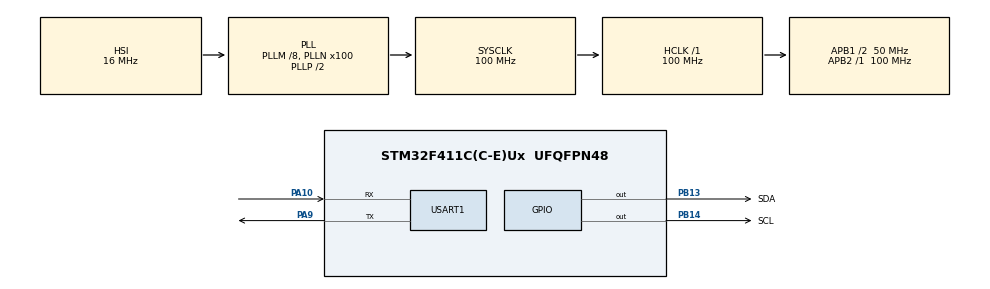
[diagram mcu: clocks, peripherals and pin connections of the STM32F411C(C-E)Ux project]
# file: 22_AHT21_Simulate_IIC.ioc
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Mcu.Family=STM32F4
Mcu.Name=STM32F411C(C-E)Ux
Mcu.Package=UFQFPN48
NVIC.PriorityGroup=NVIC_PRIORITYGROUP_4
PA10.Mode=Asynchronous
PA10.Signal=USART1_RX
PA13.Mode=Serial_Wire
PA13.Signal=SYS_JTMS-SWDIO
PA14.Mode=Serial_Wire
PA14.Signal=SYS_JTCK-SWCLK
PA9.Mode=Asynchronous
PA9.Signal=USART1_TX
PB13.GPIO_Label=SDA
PB13.GPIO_ModeDefaultOutputPP=GPIO_MODE_OUTPUT_OD
PB13.GPIO_PuPd=GPIO_NOPULL
PB13.PinState=GPIO_PIN_SET
PB13.Signal=GPIO_Output
PB14.GPIO_Label=SCL
PB14.GPIO_ModeDefaultOutputPP=GPIO_MODE_OUTPUT_OD
PB14.GPIO_PuPd=GPIO_NOPULL
PB14.PinState=GPIO_PIN_SET
PB14.Signal=GPIO_Output
PC14-OSC32_IN.Mode=LSE-External-Oscillator
PC14-OSC32_IN.Signal=RCC_OSC32_IN
PC15-OSC32_OUT.Mode=LSE-External-Oscillator
PC15-OSC32_OUT.Signal=RCC_OSC32_OUT
PH0\ -\ OSC_IN.Mode=HSE-External-Oscillator
PH0\ -\ OSC_IN.Signal=RCC_OSC_IN
PH1\ -\ OSC_OUT.Mode=HSE-External-Oscillator
PH1\ -\ OSC_OUT.Signal=RCC_OSC_OUT
ProjectManager.HeapSize=0x200
ProjectManager.StackSize=0x400
ProjectManager.TargetToolchain=MDK-ARM V5
RCC.48MHZClocksFreq_Value=50000000
RCC.AHBFreq_Value=100000000
RCC.APB1CLKDivider=RCC_HCLK_DIV2
RCC.APB1Freq_Value=50000000
RCC.APB1TimFreq_Value=100000000
RCC.APB2Freq_Value=100000000
RCC.APB2TimFreq_Value=100000000
RCC.CortexFreq_Value=100000000
RCC.HCLKFreq_Value=100000000
RCC.HSE_VALUE=25000000
RCC.HSI_VALUE=16000000
RCC.PLLM=8
RCC.PLLN=100
RCC.SYSCLKFreq_VALUE=100000000
RCC.SYSCLKSource=RCC_SYSCLKSOURCE_PLLCLK
RCC.VCOOutputFreq_Value=200000000
USART1.VirtualMode=VM_ASYNC
board=custom

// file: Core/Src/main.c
/* USER CODE BEGIN Header */
/**
 ******************************************************************************
 * @file           : main.c
 * @brief          : Main program body
 ******************************************************************************
 * @attention
 *
 * Copyright (c) 2026 STMicroelectronics.
 * All rights reserved.
 *
 * This software is licensed under terms that can be found in the LICENSE file
 * in the root directory of this software component.
 * If no LICENSE file comes with this software, it is provided AS-IS.
 *
 ******************************************************************************
 */
/* USER CODE END Header */
#include "main.h"

#include "gpio.h"
#include "usart.h"

/* USER CODE BEGIN Includes */
#include <stdio.h>

#include "core_cm4.h"
#include "iic_hal.h"

#include "Test_Aht21b_Driver.h"
/* USER CODE END Includes */

/* USER CODE BEGIN PV */
iic_bus_t AHT_bus = {
    .IIC_SDA_PORT = GPIOB,
    .IIC_SCL_PORT = GPIOB,
    .IIC_SDA_PIN = GPIO_PIN_13,
    .IIC_SCL_PIN = GPIO_PIN_14,
};
/* USER CODE END PV */

/* ---------- unity test ------------------- */
// void setUp(void)
// {
// }
// void tearDown(void)
// {
// }

/* ---------- unity test ------------------- */

void SystemClock_Config(void);
/* USER CODE BEGIN PFP */
void dwt_delay_init(void) {
  CoreDebug->DEMCR |= CoreDebug_DEMCR_TRCENA_Msk;  // ʹ�� DWT ģ��
  DWT->CYCCNT = 0;                                 // ���������
  DWT->CTRL |= DWT_CTRL_CYCCNTENA_Msk;             // ʹ�� cycle counter
}
void delay_us(uint32_t us) {
  uint32_t start = DWT->CYCCNT;
  uint32_t ticks = us * (SystemCoreClock / 1000000);

  while ((DWT->CYCCNT - start) < ticks);
}

void delay_ms(uint32_t ms) {
  while (ms--) {
    delay_us(1000);
  }
}
/* USER CODE END PFP */

/* Private user code --------------
 * -------------------------------------------*/

int main(void) {

  /* MCU Configuration--------------------------------------------------------*/

  /* Reset of all peripherals, Initializes the Flash interface and the Systick.
   */
  HAL_Init();

  /* Configure the system clock */
  SystemClock_Config();
  dwt_delay_init();

  /* Initialize all configured peripherals */
  MX_GPIO_Init();
  MX_USART1_UART_Init();
  /* USER CODE BEGIN 2 */
  printf("Hello World1");
  HAL_GPIO_WritePin(GPIOB, SDA_Pin | SCL_Pin, GPIO_PIN_RESET);
  printf("hello world2 SystemCoreClock = [%d] \r\n", SystemCoreClock);
  HAL_GPIO_WritePin(GPIOB, SDA_Pin | SCL_Pin, GPIO_PIN_SET);

  delay_us(1000);
  HAL_GPIO_WritePin(GPIOB, SDA_Pin | SCL_Pin, GPIO_PIN_RESET);
  delay_us(100);
  HAL_GPIO_WritePin(GPIOB, SDA_Pin | SCL_Pin, GPIO_PIN_SET);
  delay_us(100);
  HAL_GPIO_WritePin(GPIOB, SDA_Pin | SCL_Pin, GPIO_PIN_RESET);
  delay_us(200);
  HAL_GPIO_WritePin(GPIOB, SDA_Pin | SCL_Pin, GPIO_PIN_SET);
  delay_us(100);
  HAL_GPIO_WritePin(GPIOB, SDA_Pin | SCL_Pin, GPIO_PIN_RESET);
  delay_us(300);
  HAL_GPIO_WritePin(GPIOB, SDA_Pin | SCL_Pin, GPIO_PIN_SET);
  delay_us(100);
  HAL_GPIO_WritePin(GPIOB, SDA_Pin | SCL_Pin, GPIO_PIN_RESET);
  delay_ms(1);
  HAL_GPIO_WritePin(GPIOB, SDA_Pin | SCL_Pin, GPIO_PIN_SET);

  delay_us(1);
  HAL_GPIO_WritePin(GPIOB, SDA_Pin | SCL_Pin, GPIO_PIN_RESET);
  delay_us(1);
  HAL_GPIO_WritePin(GPIOB, SDA_Pin | SCL_Pin, GPIO_PIN_SET);

  IICInit(&AHT_bus);
  IICStart(&AHT_bus);
  IICSendByte(&AHT_bus, 0x70);  // 0x70
  if (0 == IICWaitAck(&AHT_bus)) {
    // printf("IICWaitAck success \r\n");
  } else {
    // printf("IICWaitAck failed \r\n");
  }
  IICStop(&AHT_bus);

/* Unity Test ----- */

    int test_retval = 0;
    test_retval = TestUnity();

/* Unity Test ----- */

  /* USER CODE END 2 */

  /* Infinite loop */
  while (1) {

  }
}

void SystemClock_Config(void) {
  RCC_OscInitTypeDef RCC_OscInitStruct = {0};
  RCC_ClkInitTypeDef RCC_ClkInitStruct = {0};

  /** Configure the main internal regulator output voltage
   */
  __HAL_RCC_PWR_CLK_ENABLE();
  __HAL_PWR_VOLTAGESCALING_CONFIG(PWR_REGULATOR_VOLTAGE_SCALE1);

  /** Initializes the RCC Oscillators according to the specified parameters
   * in the RCC_OscInitTypeDef structure.
   */
  RCC_OscInitStruct.OscillatorType = RCC_OSCILLATORTYPE_HSI;
  RCC_OscInitStruct.HSIState = RCC_HSI_ON;
  RCC_OscInitStruct.HSICalibrationValue = RCC_HSICALIBRATION_DEFAULT;
  RCC_OscInitStruct.PLL.PLLState = RCC_PLL_ON;
  RCC_OscInitStruct.PLL.PLLSource = RCC_PLLSOURCE_HSI;
  RCC_OscInitStruct.PLL.PLLM = 8;
  RCC_OscInitStruct.PLL.PLLN = 100;
  RCC_OscInitStruct.PLL.PLLP = RCC_PLLP_DIV2;
  RCC_OscInitStruct.PLL.PLLQ = 4;
  if (HAL_RCC_OscConfig(&RCC_OscInitStruct) != HAL_OK) {
    Error_Handler();
  }

  /** Initializes the CPU, AHB and APB buses clocks
   */
  RCC_ClkInitStruct.ClockType = RCC_CLOCKTYPE_HCLK | RCC_CLOCKTYPE_SYSCLK |
                                RCC_CLOCKTYPE_PCLK1 | RCC_CLOCKTYPE_PCLK2;
  RCC_ClkInitStruct.SYSCLKSource = RCC_SYSCLKSOURCE_PLLCLK;
  RCC_ClkInitStruct.AHBCLKDivider = RCC_SYSCLK_DIV1;
  RCC_ClkInitStruct.APB1CLKDivider = RCC_HCLK_DIV2;
  RCC_ClkInitStruct.APB2CLKDivider = RCC_HCLK_DIV1;

  if (HAL_RCC_ClockConfig(&RCC_ClkInitStruct, FLASH_LATENCY_3) != HAL_OK) {
    Error_Handler();
  }
}

void Error_Handler(void) {
  __disable_irq();
  while (1) {
  }
}

#ifdef USE_FULL_ASSERT
/**
 * @brief  Reports the name of the source file and the source line number
 *         where the assert_param error has occurred.
 * @param  file: pointer to the source file name
 * @param  line: assert_param error line source number
 * @retval None
 */
void assert_failed(uint8_t* file, uint32_t line) {
  /* USER CODE BEGIN 6 */
  /* User can add his own implementation to report the file name and line
     number, ex: printf("Wrong parameters value: file %s on line %d\r\n", file,
     line) */
  /* USER CODE END 6 */
}
#endif /* USE_FULL_ASSERT */
